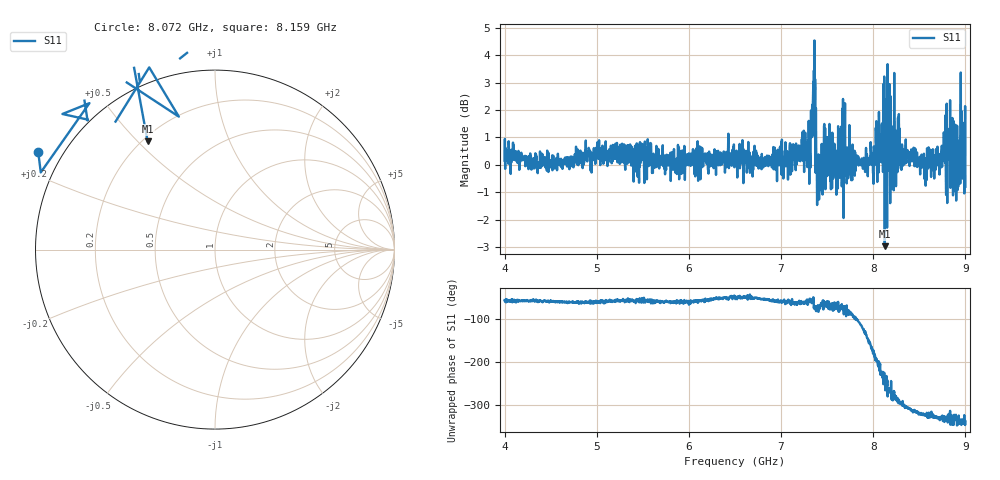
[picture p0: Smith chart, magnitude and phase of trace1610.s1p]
! Created with skrf 1.8.0 (http://scikit-rf.org).
# Hz S RI R 50.0
!freq ReS11 ImS11
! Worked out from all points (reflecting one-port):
!   1601 points, 4 GHz to 9 GHz, reference 50 ohm
!   lowest |S11| = -3.0 dB at 8.125 GHz (marker M1), VSWR 5.90, Z = 11 + j26.7 ohm
!   phase of S11 starts at -57 deg and turns -281 deg over the sweep
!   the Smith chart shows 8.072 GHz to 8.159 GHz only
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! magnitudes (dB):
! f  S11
! 4 GHz  0.2
! 4.625 GHz  -0.1
! 5.25 GHz  0.0
! 5.875 GHz  0.1
! 6.5 GHz  0.4
! 7.125 GHz  0.3
! 7.294 GHz  0.9
! 7.322 GHz  1.3
! 7.347 GHz  2.5
! 7.412 GHz  -1.3
! 7.512 GHz  0.4
! 7.591 GHz  0.2
! 7.669 GHz  1.1
! 7.75 GHz  0.1
! 8 GHz  -0.4
! 8.066 GHz  0.1
! 8.097 GHz  0.5
! 8.125 GHz  -3.0
! 8.153 GHz  0.4
! 8.197 GHz  -0.7
! 8.253 GHz  0.6
! 8.375 GHz  0.5
! 8.556 GHz  -0.5
! 8.809 GHz  1.3
! 8.919 GHz  0.0
! 8.956 GHz  0.1
! 8.972 GHz  0.7
! 9 GHz  -0.8
